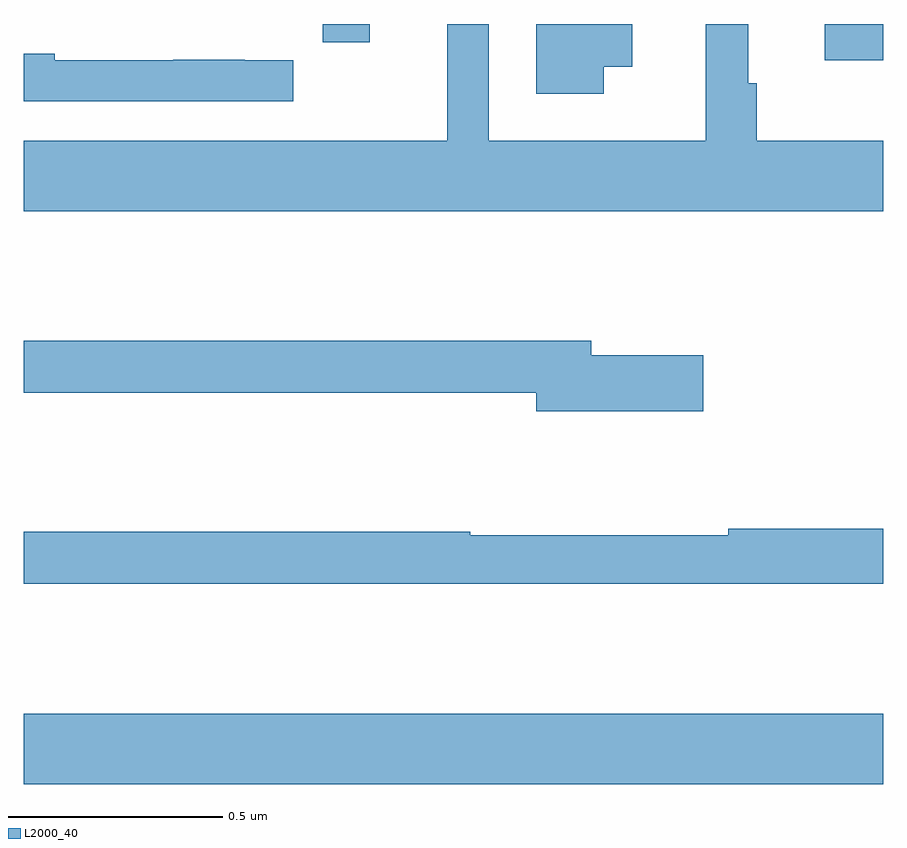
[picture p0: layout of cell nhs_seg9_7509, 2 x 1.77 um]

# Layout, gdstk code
import gdstk
lib = gdstk.Library(unit=1e-6, precision=1e-09)
def R(c, l, rs):  # rectangles x0, y0, x1, y1
    for r in rs: c.add(gdstk.rectangle(r[:2], r[2:], *l))
def P(c, l, *ps):  # polygons
    for p in ps: c.add(gdstk.Polygon(p, *l))
L2000_40 = (2000, 40)

nhs_seg9_7509 = lib.new_cell('nhs_seg9_7509')
R(nhs_seg9_7509, L2000_40, [(205,1217.732,207,1217.896), (206.864,1219.416,207,1219.5), (205.696,1219.458,205.805,1219.5)])
P(nhs_seg9_7509, L2000_40, [(207,1219.228),(206.705,1219.228),(206.705,1219.362),(206.686,1219.362),(206.686,1219.5),(206.587,1219.5),(206.587,1219.228),(206.082,1219.228),(206.082,1219.5),(205.985,1219.5),(205.985,1219.228),(205,1219.228),(205,1219.064),(207,1219.064)],
  [(206.35,1219.4),(206.416,1219.4),(206.416,1219.5),(206.192,1219.5),(206.192,1219.338),(206.35,1219.338)],
  [(205.627,1219.416),(205.514,1219.416),(205.514,1219.417),(205.348,1219.417),(205.348,1219.416),(205.072,1219.416),(205.072,1219.431),(205,1219.431),(205,1219.32),(205.627,1219.32)],
  [(206.581,1218.729),(206.32,1218.729),(206.32,1218.763),(205,1218.763),(205,1218.642),(206.192,1218.642),(206.192,1218.599),(206.581,1218.599)],
  [(207,1218.326),(206.639,1218.326),(206.639,1218.311),(206.039,1218.311),(206.039,1218.319),(205,1218.319),(205,1218.198),(207,1218.198)])

lib.write_gds('nhs_seg9_7509.gds')
